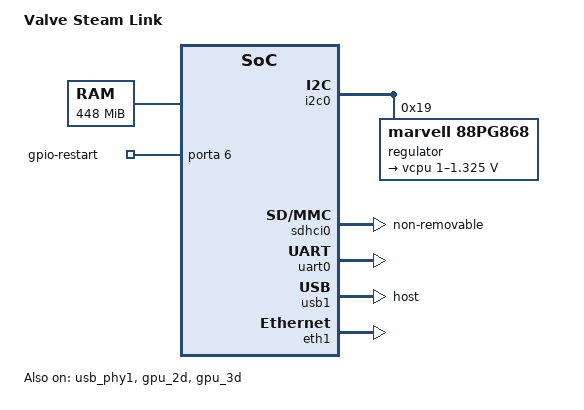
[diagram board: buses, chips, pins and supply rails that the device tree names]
// SPDX-License-Identifier: (GPL-2.0 OR MIT)
/*
 * Copyright 2018 Alexander Monakov <amonakov@gmail.com>
 * Refined for Steam Link Support with Modern Kernel
 */
/dts-v1/;

#include "berlin2cd.dtsi"
#include <dt-bindings/gpio/gpio.h>
#include <dt-bindings/clock/berlin2.h>

/ {
	model = "Valve Steam Link";
	compatible = "valve,steamlink", "marvell,berlin2cd", "marvell,berlin";

	memory@0 {
		device_type = "memory";
		reg = <0x00000000 0x1c000000>; /* 448 MB, top 64MB reserved for FB/GPU */
	};

	reserved-memory {
		#address-cells = <1>;
		#size-cells = <1>;
		ranges;

		/* Dedicated region for boot framebuffer to prevent corruption */
		framebuffer_mem: framebuffer@1f000000 {
			reg = <0x1f000000 0x01000000>; /* 16MB */
			no-map;
		};

		linux,cma {
			compatible = "shared-dma-pool";
			reusable;
			size = <0x03000000>; /* 48MB for CMA (Dynamic GPU Memory) */
			linux,cma-default;
		};
	};

	chosen {
		#address-cells = <1>;
		#size-cells = <1>;
		bootargs = "console=ttyS0,115200 earlycon";
		framebuffer0: framebuffer@1f000000 {
			compatible = "simple-framebuffer";
			reg = <0x1f000000 0x00800000>; /* ~8MB for 1080p */
			width = <1920>;
			height = <1080>;
			stride = <7680>; /* 1920 * 4 */
			format = "a8r8g8b8";
		};
	};

	gpio-restart {
		compatible = "gpio-restart";
		gpios = <&porta 6 GPIO_ACTIVE_HIGH>;
		active-delay = <100>;
		inactive-delay = <10>;
		wait-delay = <100>;
		priority = <200>;
	};

	soc@f7000000 {
		gpu_2d: gpu@ef0000 {
			compatible = "vivante,gc";
			reg = <0xef0000 0x4000>;
			interrupts = <GIC_SPI 6 IRQ_TYPE_LEVEL_HIGH>;
			clocks = <&chip_clk CLKID_GFX>;
			clock-names = "core";
			status = "okay";
		};

		gpu_3d: gpu@bc0000 {
			compatible = "vivante,gc";
			reg = <0xbc0000 0x4000>;
			interrupts = <GIC_SPI 5 IRQ_TYPE_LEVEL_HIGH>;
			clocks = <&chip_clk CLKID_GFX3D_CORE>, <&chip_clk CLKID_GFX3D_SYS>;
			clock-names = "core", "bus";
			status = "okay";
		};
	};
};

&cpu {
	cpu-supply = <&vcpu>;
	operating-points = <
		/* kHz    uV */
		1200000 1325000
		1000000 1325000
		800000  1200000
		600000  1100000
	>;
};

&i2c0 {
	status = "okay";

	regulator@19 {
		compatible = "marvell,88pg868";
		reg = <0x19>;

		vcpu: buck1 {
			regulator-boot-on;
			regulator-always-on;
			regulator-min-microvolt = <1000000>;
			regulator-max-microvolt = <1325000>;
		};
	};
};

/* Fixed interface to on-board Marvell 8897 Wi-Fi/Bluetooth/NFC chip. */
&sdhci0 {
	keep-power-in-suspend;
	non-removable;
	status = "okay";
};

&uart0 {
	status = "okay";
};

&usb_phy1 { status = "okay"; };

&usb1 {
	dr_mode = "host";
	status = "okay";
};

&eth1 { status = "okay"; };
